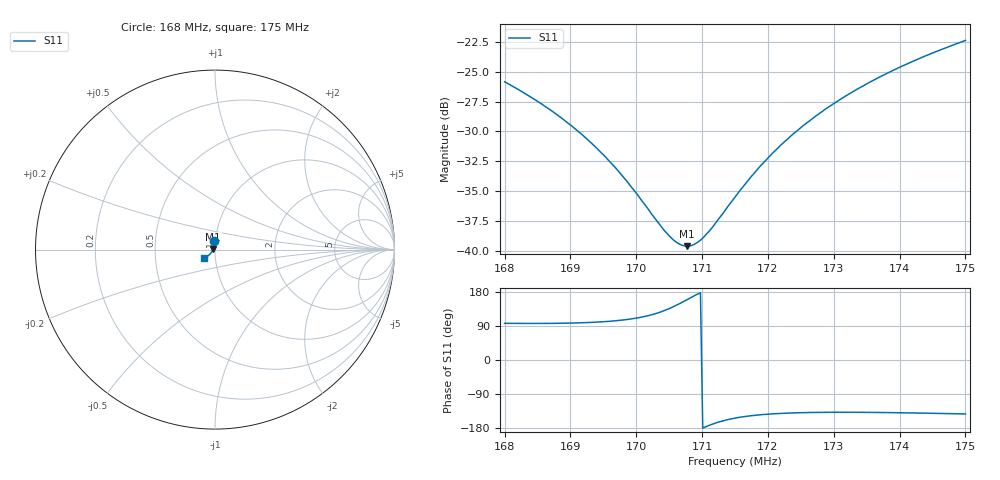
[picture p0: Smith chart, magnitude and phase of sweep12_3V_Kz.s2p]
!Agilent Technologies,E8364B,US42250162,A.07.50.67
!Agilent E8364B: A.07.50.67
!Date: Friday, June 23, 2023 16:31:21
!Correction: S11(Off)
!S21(Off)
!S12(Off)
!S22(Off)
!S2P File: Measurements: S11, S21, S12, S22:
# Hz S  RI  R 50
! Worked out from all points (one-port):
!   201 points, 168 MHz to 175 MHz, reference 50 ohm
!   lowest |S11| = -39.6 dB at 170.76 MHz (marker M1), VSWR 1.02, Z = 49 + j0.372 ohm
!   |S11| at or under -10 dB: start of sweep to end of sweep
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1.68e8  -0.00602 0.0507  7.07e-11 7.07e-11  7.07e-11 7.07e-11  7.07e-11 7.07e-11
1.68665e8  -0.0045 0.0392  7.07e-11 7.07e-11  7.07e-11 7.07e-11  7.07e-11 7.07e-11
1.6919e8  -0.00439 0.0301  7.07e-11 7.07e-11  7.07e-11 7.07e-11  7.07e-11 7.07e-11
1.69505e8  -0.00478 0.0247  7.07e-11 7.07e-11  7.07e-11 7.07e-11  7.07e-11 7.07e-11
1.6968e8  -0.00515 0.0217  7.07e-11 7.07e-11  7.07e-11 7.07e-11  7.07e-11 7.07e-11
1.69995e8  -0.00606 0.0164  7.07e-11 7.07e-11  7.07e-11 7.07e-11  7.07e-11 7.07e-11
1.70345e8  -0.00748 0.0106  7.07e-11 7.07e-11  7.07e-11 7.07e-11  7.07e-11 7.07e-11
1.70555e8  -0.00854 0.00714  7.07e-11 7.07e-11  7.07e-11 7.07e-11  7.07e-11 7.07e-11
1.7066e8  -0.0091 0.0055  7.07e-11 7.07e-11  7.07e-11 7.07e-11  7.07e-11 7.07e-11
1.70765e8  -0.00972 0.00379  7.07e-11 7.07e-11  7.07e-11 7.07e-11  7.07e-11 7.07e-11
1.7087e8  -0.0104 0.00213  7.07e-11 7.07e-11  7.07e-11 7.07e-11  7.07e-11 7.07e-11
1.7101e8  -0.0113 -4.34e-05  7.07e-11 7.07e-11  7.07e-11 7.07e-11  7.07e-11 7.07e-11
1.7115e8  -0.0122 -0.00221  7.07e-11 7.07e-11  7.07e-11 7.07e-11  7.07e-11 7.07e-11
1.715e8  -0.015 -0.00751  7.07e-11 7.07e-11  7.07e-11 7.07e-11  7.07e-11 7.07e-11
1.7171e8  -0.0168 -0.0106  7.07e-11 7.07e-11  7.07e-11 7.07e-11  7.07e-11 7.07e-11
1.72025e8  -0.0198 -0.0151  7.07e-11 7.07e-11  7.07e-11 7.07e-11  7.07e-11 7.07e-11
1.72375e8  -0.0234 -0.0199  7.07e-11 7.07e-11  7.07e-11 7.07e-11  7.07e-11 7.07e-11
1.7269e8  -0.0269 -0.0239  7.07e-11 7.07e-11  7.07e-11 7.07e-11  7.07e-11 7.07e-11
1.7318e8  -0.033 -0.0298  7.07e-11 7.07e-11  7.07e-11 7.07e-11  7.07e-11 7.07e-11
1.73845e8  -0.0422 -0.0369  7.07e-11 7.07e-11  7.07e-11 7.07e-11  7.07e-11 7.07e-11
1.74335e8  -0.0495 -0.0414  7.07e-11 7.07e-11  7.07e-11 7.07e-11  7.07e-11 7.07e-11
1.75e8  -0.0603 -0.0464  7.07e-11 7.07e-11  7.07e-11 7.07e-11  7.07e-11 7.07e-11
